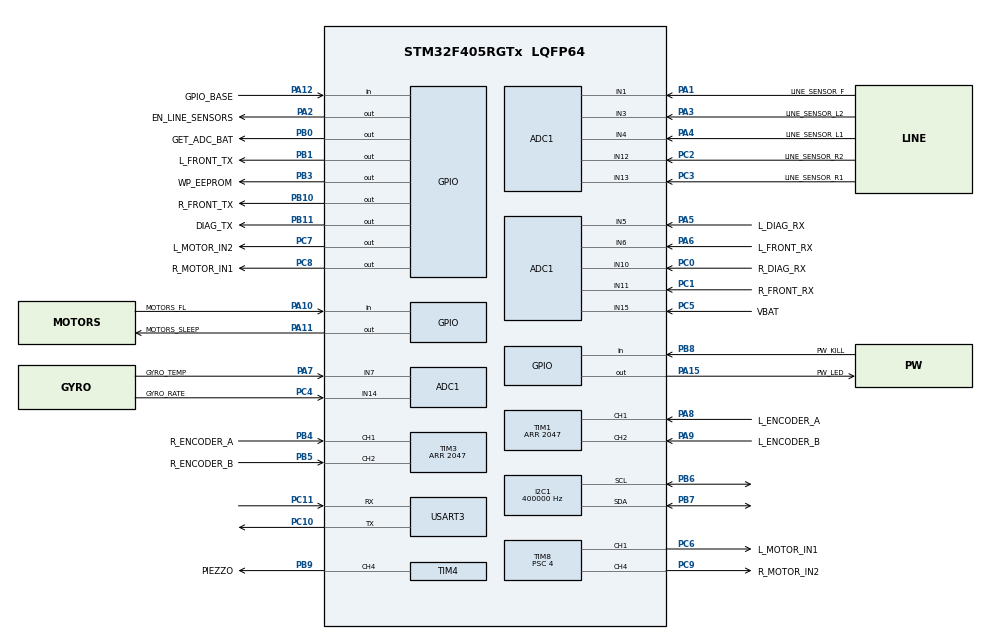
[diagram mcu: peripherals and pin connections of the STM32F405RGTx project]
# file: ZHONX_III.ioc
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ADC1.Channel-0\#ChannelRegularConversion=ADC_CHANNEL_1
ADC1.ContinuousConvMode=ENABLE
ADC1.DMAContinuousRequests=ENABLE
ADC1.EOCSelection=EOC_SEQ_CONV
ADC1.NbrOfConversionFlag=1
ADC1.master=1
Dma.ADC1.0.Channel=DMA_CHANNEL_0
Dma.ADC1.0.Direction=DMA_PERIPH_TO_MEMORY
Dma.ADC1.0.FIFOMode=DMA_FIFOMODE_DISABLE
Dma.ADC1.0.Instance=DMA2_Stream0
Dma.ADC1.0.MemDataAlignment=DMA_MDATAALIGN_WORD
Dma.ADC1.0.MemInc=DMA_MINC_ENABLE
Dma.ADC1.0.Mode=DMA_CIRCULAR
Dma.ADC1.0.PeriphDataAlignment=DMA_PDATAALIGN_WORD
Dma.ADC1.0.PeriphInc=DMA_PINC_DISABLE
Dma.ADC1.0.Priority=DMA_PRIORITY_HIGH
Dma.I2C1_RX.2.Channel=DMA_CHANNEL_1
Dma.I2C1_RX.2.Direction=DMA_PERIPH_TO_MEMORY
Dma.I2C1_RX.2.FIFOMode=DMA_FIFOMODE_DISABLE
Dma.I2C1_RX.2.Instance=DMA1_Stream5
Dma.I2C1_RX.2.MemDataAlignment=DMA_MDATAALIGN_BYTE
Dma.I2C1_RX.2.MemInc=DMA_MINC_ENABLE
Dma.I2C1_RX.2.Mode=DMA_NORMAL
Dma.I2C1_RX.2.PeriphDataAlignment=DMA_PDATAALIGN_BYTE
Dma.I2C1_RX.2.PeriphInc=DMA_PINC_DISABLE
Dma.I2C1_RX.2.Priority=DMA_PRIORITY_HIGH
Dma.I2C1_TX.1.Channel=DMA_CHANNEL_1
Dma.I2C1_TX.1.Direction=DMA_MEMORY_TO_PERIPH
Dma.I2C1_TX.1.FIFOMode=DMA_FIFOMODE_DISABLE
Dma.I2C1_TX.1.Instance=DMA1_Stream6
Dma.I2C1_TX.1.MemDataAlignment=DMA_MDATAALIGN_BYTE
Dma.I2C1_TX.1.MemInc=DMA_MINC_ENABLE
Dma.I2C1_TX.1.Mode=DMA_NORMAL
Dma.I2C1_TX.1.PeriphDataAlignment=DMA_PDATAALIGN_BYTE
Dma.I2C1_TX.1.PeriphInc=DMA_PINC_DISABLE
Dma.I2C1_TX.1.Priority=DMA_PRIORITY_LOW
Dma.Request0=ADC1
Dma.Request1=I2C1_TX
Dma.Request2=I2C1_RX
I2C1.ClockSpeed=400000
I2C1.DualAddressMode=I2C_DUALADDRESS_DISABLED
I2C1.DutyCycle=I2C_DUTYCYCLE_16_9
I2C1.GeneralCallMode=I2C_GENERALCALL_ENABLED
I2C1.NoStretchMode=I2C_NOSTRETCH_ENABLED
I2C1.OwnAddress1=120
Mcu.Family=STM32F4
Mcu.Name=STM32F405RGTx
Mcu.Package=LQFP64
NVIC.DMA1_Stream5_IRQn=true\:1\:0
NVIC.DMA1_Stream6_IRQn=true\:1\:1
NVIC.I2C1_ER_IRQn=true\:0\:0
NVIC.I2C1_EV_IRQn=true\:0\:0
NVIC.PriorityGroup=NVIC_PRIORITYGROUP_1
NVIC.TIM1_UP_TIM10_IRQn=true\:0\:0
NVIC.TIM3_IRQn=true\:0\:0
NVIC.TIM6_DAC_IRQn=true\:1\:2
NVIC.TIM7_IRQn=true\:0\:0
PA0-WKUP.Mode=SYS-WakeUp
PA0-WKUP.Signal=SYS_WKUP
PA1.GPIO_Label=LINE_SENSOR_F
PA1.GPIO_Mode=GPIO_MODE_ANALOG
PA1.GPIO_PuPd=GPIO_NOPULL
PA1.Signal=ADCx_IN1
PA10.GPIO_Label=MOTORS_FL
PA10.GPIO_Mode=GPIO_MODE_INPUT
PA10.GPIO_PuPd=GPIO_NOPULL
PA10.Signal=GPIO_Input
PA11.GPIO_Label=MOTORS_SLEEP
PA11.GPIO_ModeDefaultOutputPP=GPIO_MODE_OUTPUT_PP
PA11.GPIO_PuPd=GPIO_NOPULL
PA11.GPIO_Speed=GPIO_SPEED_LOW
PA11.Signal=GPIO_Output
PA12.GPIO_Label=GPIO_BASE
PA12.GPIO_Mode=GPIO_MODE_INPUT
PA12.GPIO_PuPd=GPIO_NOPULL
PA12.Signal=GPIO_Input
PA13.Mode=Serial-Wire
PA13.Signal=SYS_JTMS-SWDIO
PA14.Mode=Serial-Wire
PA14.Signal=SYS_JTCK-SWCLK
PA15.GPIO_Label=PW_LED
PA15.GPIO_Mode=GPIO_MODE_OUTPUT_PP
PA15.GPIO_ModeDefaultOutputPP=GPIO_MODE_OUTPUT_PP
PA15.GPIO_PuPd=GPIO_NOPULL
PA15.GPIO_Speed=GPIO_SPEED_LOW
PA15.Signal=GPIO_Output
PA2.GPIO_Label=EN_LINE_SENSORS
PA2.GPIO_ModeDefaultOutputPP=GPIO_MODE_OUTPUT_PP
PA2.GPIO_PuPd=GPIO_NOPULL
PA2.GPIO_Speed=GPIO_SPEED_LOW
PA2.Signal=GPIO_Output
PA3.GPIO_Label=LINE_SENSOR_L2
PA3.GPIO_Mode=GPIO_MODE_ANALOG
PA3.GPIO_PuPd=GPIO_NOPULL
PA3.Signal=ADCx_IN3
PA4.GPIO_Label=LINE_SENSOR_L1
PA4.GPIO_Mode=GPIO_MODE_ANALOG
PA4.GPIO_PuPd=GPIO_NOPULL
PA4.Signal=ADCx_IN4
PA5.GPIO_Label=L_DIAG_RX
PA5.GPIO_Mode=GPIO_MODE_ANALOG
PA5.GPIO_PuPd=GPIO_NOPULL
PA5.Signal=ADCx_IN5
PA6.GPIO_Label=L_FRONT_RX
PA6.GPIO_Mode=GPIO_MODE_ANALOG
PA6.GPIO_PuPd=GPIO_NOPULL
PA6.Signal=ADCx_IN6
PA7.GPIO_Label=GYRO_TEMP
PA7.GPIO_Mode=GPIO_MODE_ANALOG
PA7.GPIO_PuPd=GPIO_NOPULL
PA7.Signal=ADCx_IN7
PA8.GPIO_Label=L_ENCODER_A
PA8.GPIO_ModeDefaultPP=GPIO_MODE_AF_PP
PA8.GPIO_PuPd=GPIO_NOPULL
PA8.GPIO_Speed=GPIO_SPEED_LOW
PA8.Signal=S_TIM1_CH1
PA9.GPIO_Label=L_ENCODER_B
PA9.GPIO_ModeDefaultPP=GPIO_MODE_AF_PP
PA9.GPIO_PuPd=GPIO_NOPULL
PA9.GPIO_Speed=GPIO_SPEED_LOW
PA9.Signal=S_TIM1_CH2
PB0.GPIO_Label=GET_ADC_BAT
PB0.GPIO_ModeDefaultOutputPP=GPIO_MODE_OUTPUT_PP
PB0.GPIO_PuPd=GPIO_NOPULL
PB0.GPIO_Speed=GPIO_SPEED_LOW
PB0.Signal=GPIO_Output
PB1.GPIO_Label=L_FRONT_TX
PB1.GPIO_ModeDefaultOutputPP=GPIO_MODE_OUTPUT_PP
PB1.GPIO_PuPd=GPIO_NOPULL
PB1.GPIO_Speed=GPIO_SPEED_HIGH
PB1.Signal=GPIO_Output
PB10.GPIO_Label=R_FRONT_TX
PB10.GPIO_ModeDefaultOutputPP=GPIO_MODE_OUTPUT_PP
PB10.GPIO_PuPd=GPIO_NOPULL
PB10.GPIO_Speed=GPIO_SPEED_HIGH
PB10.Signal=GPIO_Output
PB11.GPIO_Label=DIAG_TX
PB11.GPIO_ModeDefaultOutputPP=GPIO_MODE_OUTPUT_PP
PB11.GPIO_PuPd=GPIO_NOPULL
PB11.GPIO_Speed=GPIO_SPEED_HIGH
PB11.Signal=GPIO_Output
PB3.GPIO_Label=WP_EEPROM
PB3.GPIO_ModeDefaultOutputPP=GPIO_MODE_OUTPUT_PP
PB3.GPIO_PuPd=GPIO_NOPULL
PB3.GPIO_Speed=GPIO_SPEED_LOW
PB3.Signal=GPIO_Output
PB4.GPIO_Label=R_ENCODER_A
PB4.GPIO_ModeDefaultPP=GPIO_MODE_AF_PP
PB4.GPIO_PuPd=GPIO_NOPULL
PB4.GPIO_Speed=GPIO_SPEED_LOW
PB4.Signal=S_TIM3_CH1
PB5.GPIO_Label=R_ENCODER_B
PB5.GPIO_ModeDefaultPP=GPIO_MODE_AF_PP
PB5.GPIO_PuPd=GPIO_NOPULL
PB5.GPIO_Speed=GPIO_SPEED_LOW
PB5.Signal=S_TIM3_CH2
PB6.GPIO_Mode=GPIO_MODE_AF_OD
PB6.GPIO_PuPd=GPIO_NOPULL
PB6.GPIO_Speed=GPIO_SPEED_FAST
PB6.Mode=I2C
PB6.Signal=I2C1_SCL
PB7.GPIO_Mode=GPIO_MODE_AF_OD
PB7.GPIO_PuPd=GPIO_NOPULL
PB7.GPIO_Speed=GPIO_SPEED_FAST
PB7.Mode=I2C
PB7.Signal=I2C1_SDA
PB8.GPIO_Label=PW_KILL
PB8.GPIO_Mode=GPIO_MODE_INPUT
PB8.GPIO_PuPd=GPIO_PULLUP
PB8.Signal=GPIO_Input
PB9.GPIO_Label=PIEZZO
PB9.GPIO_ModeDefaultPP=GPIO_MODE_AF_PP
PB9.GPIO_PuPd=GPIO_NOPULL
PB9.GPIO_Speed=GPIO_SPEED_LOW
PB9.Signal=S_TIM4_CH4
PC0.GPIO_Label=R_DIAG_RX
PC0.GPIO_Mode=GPIO_MODE_ANALOG
PC0.GPIO_PuPd=GPIO_NOPULL
PC0.Signal=ADCx_IN10
PC1.GPIO_Label=R_FRONT_RX
PC1.GPIO_Mode=GPIO_MODE_ANALOG
PC1.GPIO_PuPd=GPIO_NOPULL
PC1.Signal=ADCx_IN11
PC10.Mode=Asynchronous
PC10.Signal=USART3_TX
PC11.Mode=Asynchronous
PC11.Signal=USART3_RX
PC2.GPIO_Label=LINE_SENSOR_R2
PC2.GPIO_Mode=GPIO_MODE_ANALOG
PC2.GPIO_PuPd=GPIO_NOPULL
PC2.Signal=ADCx_IN12
PC3.GPIO_Label=LINE_SENSOR_R1
PC3.GPIO_Mode=GPIO_MODE_ANALOG
PC3.GPIO_PuPd=GPIO_NOPULL
PC3.Signal=ADCx_IN13
PC4.GPIO_Label=GYRO_RATE
PC4.GPIO_Mode=GPIO_MODE_ANALOG
PC4.GPIO_PuPd=GPIO_NOPULL
PC4.Signal=ADCx_IN14
PC5.GPIO_Label=VBAT
PC5.GPIO_Mode=GPIO_MODE_ANALOG
PC5.GPIO_PuPd=GPIO_NOPULL
PC5.Signal=ADCx_IN15
PC6.GPIO_Label=L_MOTOR_IN1
PC6.GPIO_ModeDefaultPP=GPIO_MODE_AF_PP
PC6.GPIO_PuPd=GPIO_NOPULL
PC6.GPIO_Speed=GPIO_SPEED_FAST
PC6.Signal=S_TIM8_CH1
PC7.GPIO_Label=L_MOTOR_IN2
PC7.GPIO_ModeDefaultOutputPP=GPIO_MODE_OUTPUT_PP
PC7.GPIO_PuPd=GPIO_NOPULL
PC7.GPIO_Speed=GPIO_SPEED_LOW
PC7.Signal=GPIO_Output
PC8.GPIO_Label=R_MOTOR_IN1
PC8.GPIO_ModeDefaultOutputPP=GPIO_MODE_OUTPUT_PP
PC8.GPIO_PuPd=GPIO_NOPULL
PC8.GPIO_Speed=GPIO_SPEED_LOW
PC8.Signal=GPIO_Output
PC9.GPIO_Label=R_MOTOR_IN2
PC9.GPIO_ModeDefaultPP=GPIO_MODE_AF_PP
PC9.GPIO_PuPd=GPIO_NOPULL
PC9.GPIO_Speed=GPIO_SPEED_FAST
PC9.Signal=S_TIM8_CH4
PH0-OSC_IN.Mode=HSE-External-Oscillator
PH0-OSC_IN.Signal=RCC_OSC_IN
PH1-OSC_OUT.Mode=HSE-External-Oscillator
PH1-OSC_OUT.Signal=RCC_OSC_OUT
ProjectManager.TargetToolchain=TrueSTUDIO 4.3.1
RCC.APB1CLKDivider=RCC_HCLK_DIV4
RCC.APB2CLKDivider=RCC_HCLK_DIV4
RCC.EnbaleCSS=true
RCC.HSE_VALUE=16000000
RCC.HSI_VALUE=16000000
RCC.LSE_VALUE=32768
RCC.PLLN=336
RCC.PLLSource=RCC_PLLSOURCE_HSE
RCC.SYSCLKSource=RCC_SYSCLKSOURCE_PLLCLK
SH.ADCx_IN1.0=ADC1_IN1,IN1
SH.ADCx_IN10.0=ADC1_IN10,IN10
SH.ADCx_IN11.0=ADC1_IN11,IN11
SH.ADCx_IN12.0=ADC1_IN12,IN12
SH.ADCx_IN13.0=ADC1_IN13,IN13
SH.ADCx_IN14.0=ADC1_IN14,IN14
SH.ADCx_IN15.0=ADC1_IN15,IN15
SH.ADCx_IN3.0=ADC1_IN3,IN3
SH.ADCx_IN4.0=ADC1_IN4,IN4
SH.ADCx_IN5.0=ADC1_IN5,IN5
SH.ADCx_IN6.0=ADC1_IN6,IN6
SH.ADCx_IN7.0=ADC1_IN7,IN7
SH.S_TIM1_CH1.0=TIM1_CH1,Encoder_Interface
SH.S_TIM1_CH2.0=TIM1_CH2,Encoder_Interface
SH.S_TIM3_CH1.0=TIM3_CH1,Encoder_Interface
SH.S_TIM3_CH2.0=TIM3_CH2,Encoder_Interface
SH.S_TIM4_CH4.0=TIM4_CH4,PWM Generation4 CH4
SH.S_TIM8_CH1.0=TIM8_CH1,PWM Generation1 CH1
SH.S_TIM8_CH4.0=TIM8_CH4,PWM Generation4 CH4
TIM1.ClockDivision=TIM_CLOCKDIVISION_DIV1
TIM1.EncoderMode=TIM_ENCODERMODE_TI12
TIM1.IC1Filter-Encoder_Interface=3
TIM1.IC1Prescaler-Encoder_Interface=TIM_ICPSC_DIV8
TIM1.IC2Filter=3
TIM1.IC2Prescaler=TIM_ICPSC_DIV8
TIM1.Period=2047
TIM10.Period=10
TIM10.Prescaler=60000
TIM3.EncoderMode=TIM_ENCODERMODE_TI12
TIM3.IC1Filter-Encoder_Interface=3
TIM3.IC1Prescaler-Encoder_Interface=TIM_ICPSC_DIV8
TIM3.IC2Filter=3
TIM3.IC2Prescaler=TIM_ICPSC_DIV8
TIM3.Period=2047
TIM4.Channel-PWM\ Generation4\ CH4=TIM_CHANNEL_4
TIM4.Period=10
TIM4.Prescaler=1800
TIM4.Pulse-PWM\ Generation4\ CH4=5
TIM6.Period=10
TIM6.Prescaler=60000
TIM7.Period=10
TIM7.Prescaler=60000
TIM8.BreakPolarity=TIM_BREAKPOLARITY_LOW
TIM8.Channel-PWM\ Generation2\ CH2=TIM_CHANNEL_2
TIM8.Channel-PWM\ Generation3\ CH3=TIM_CHANNEL_3
TIM8.Channel-PWM\ Generation4\ CH4=TIM_CHANNEL_4
TIM8.ClockDivision=TIM_CLOCKDIVISION_DIV1
TIM8.OCFastMode_PWM-PWM\ Generation1\ CH1=TIM_OCFAST_ENABLE
TIM8.OCFastMode_PWM-PWM\ Generation4\ CH4=TIM_OCFAST_ENABLE
TIM8.OCIdleState_1-PWM\ Generation1\ CH1=TIM_OCIDLESTATE_SET
TIM8.OCIdleState_4-PWM\ Generation4\ CH4=TIM_OCIDLESTATE_SET
TIM8.OCPolarity_1-PWM\ Generation1\ CH1=TIM_OCPOLARITY_LOW
TIM8.OCPolarity_4-PWM\ Generation4\ CH4=TIM_OCPOLARITY_LOW
TIM8.Period=1000
TIM8.Prescaler=4
TIM8.Pulse-PWM\ Generation1\ CH1=500
TIM8.Pulse-PWM\ Generation2\ CH2=0
TIM8.Pulse-PWM\ Generation3\ CH3=0
TIM8.Pulse-PWM\ Generation4\ CH4=500
VP_TIM10_VS_ClockSourceINT.Mode=Enable_Timer
VP_TIM6_VS_ClockSourceINT.Mode=Enable_Timer
VP_TIM7_VS_ClockSourceINT.Mode=Enable_Timer
VP_TIM8_VS_ClockSourceINT.Mode=Internal

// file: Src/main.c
/**
  ******************************************************************************
  * File Name          : main.c
  * Date               : 19/10/2014 22:24:43
  * Description        : Main program body
  ******************************************************************************
  *
  * COPYRIGHT(c) 2014 STMicroelectronics
  *
  * Redistribution and use in source and binary forms, with or without modification,
  * are permitted provided that the following conditions are met:
  *   1. Redistributions of source code must retain the above copyright notice,
  *      this list of conditions and the following disclaimer.
  *   2. Redistributions in binary form must reproduce the above copyright notice,
  *      this list of conditions and the following disclaimer in the documentation
  *      and/or other materials provided with the distribution.
  *   3. Neither the name of STMicroelectronics nor the names of its contributors
  *      may be used to endorse or promote products derived from this software
  *      without specific prior written permission.
  *
  * THIS SOFTWARE IS PROVIDED BY THE COPYRIGHT HOLDERS AND CONTRIBUTORS "AS IS"
  * AND ANY EXPRESS OR IMPLIED WARRANTIES, INCLUDING, BUT NOT LIMITED TO, THE
  * IMPLIED WARRANTIES OF MERCHANTABILITY AND FITNESS FOR A PARTICULAR PURPOSE ARE
  * DISCLAIMED. IN NO EVENT SHALL THE COPYRIGHT HOLDER OR CONTRIBUTORS BE LIABLE
  * FOR ANY DIRECT, INDIRECT, INCIDENTAL, SPECIAL, EXEMPLARY, OR CONSEQUENTIAL
  * DAMAGES (INCLUDING, BUT NOT LIMITED TO, PROCUREMENT OF SUBSTITUTE GOODS OR
  * SERVICES; LOSS OF USE, DATA, OR PROFITS; OR BUSINESS INTERRUPTION) HOWEVER
  * CAUSED AND ON ANY THEORY OF LIABILITY, WHETHER IN CONTRACT, STRICT LIABILITY,
  * OR TORT (INCLUDING NEGLIGENCE OR OTHERWISE) ARISING IN ANY WAY OUT OF THE USE
  * OF THIS SOFTWARE, EVEN IF ADVISED OF THE POSSIBILITY OF SUCH DAMAGE.
  *
  ******************************************************************************
  */

#include "stm32f4xx_hal.h"

ADC_HandleTypeDef hadc1;
DMA_HandleTypeDef hdma_adc1;

I2C_HandleTypeDef hi2c1;
DMA_HandleTypeDef hdma_i2c1_tx;
DMA_HandleTypeDef hdma_i2c1_rx;

TIM_HandleTypeDef htim1;
TIM_HandleTypeDef htim3;
TIM_HandleTypeDef htim4;
TIM_HandleTypeDef htim6;
TIM_HandleTypeDef htim7;
TIM_HandleTypeDef htim8;
TIM_HandleTypeDef htim10;

UART_HandleTypeDef huart3;

/* USER CODE BEGIN 0 */
#include "tests.h"
#include "ADXRS620.h"
#include "smallfonts.h"
#include "ssd1306.h"
#include "pictures.h"
#include "PCF8574.h"
#include "Telemeters.h"
#include "TimesBase.h"

#include "Straight_Controls.h"

#include <stdlib.h>

/* USER CODE END 0 */

void SystemClock_Config(void);
static void MX_GPIO_Init(void);
static void MX_DMA_Init(void);
static void MX_ADC1_Init(void);
static void MX_I2C1_Init(void);
static void MX_TIM1_Init(void);
static void MX_TIM3_Init(void);
static void MX_TIM4_Init(void);
static void MX_TIM6_Init(void);
static void MX_TIM7_Init(void);
static void MX_TIM8_Init(void);
static void MX_TIM10_Init(void);
static void MX_USART3_UART_Init(void);

int main(void)
{

  /* MCU Configuration----------------------------------------------------------*/

  /* Reset of all peripherals, Initializes the Flash interface and the Systick. */
  HAL_Init();

  /* Configure the system clock */
  SystemClock_Config();

  /* System interrupt init*/
  /* Sets the priority grouping field */
  HAL_NVIC_SetPriorityGrouping(NVIC_PRIORITYGROUP_1);
  HAL_NVIC_SetPriority(SysTick_IRQn, 0, 1);

  /* Initialize all configured peripherals */
  MX_GPIO_Init();
  MX_DMA_Init();
  MX_ADC1_Init();
  MX_I2C1_Init();
  MX_TIM1_Init();
  MX_TIM3_Init();
  MX_TIM4_Init();
  MX_TIM6_Init();
  MX_TIM7_Init();
  MX_TIM8_Init();
  MX_TIM10_Init();
  MX_USART3_UART_Init();

  /* USER CODE BEGIN 2 */
  HAL_GPIO_WritePin(GPIOA, GPIO_PIN_15, SET);

  /* USER CODE END 2 */

  /* USER CODE BEGIN 3 */
//  test_Expander();
  ssd1306Init(0);
  test_Telemeters();
  ADXRS620_Init();
  TimesBase_Init();

  test_Encoders();

  Straight_Control_Start(GYRO);
  test_Beeper();
  Led_Power_Blink(990, 10, 0);
  //test_Gyro();
  Debug_ADXRS620();

//Debug_Straight_Control();
while(1);

//  test_Encoders();
//  test_Vbat();
//  test_EasterEgg();
//test_Gyro();
// test_Motor_Move();

//    test_Motors();

//  test_Telemeters();
//  HAL_Delay(1000);
//  test_LineSensors();
//  test_Oled();
//  test_IR_Sensors();

  /* USER CODE END 3 */

}

/** System Clock Configuration
*/
void SystemClock_Config(void)
{

  RCC_ClkInitTypeDef RCC_ClkInitStruct;
  RCC_OscInitTypeDef RCC_OscInitStruct;

  __PWR_CLK_ENABLE();

  __HAL_PWR_VOLTAGESCALING_CONFIG(PWR_REGULATOR_VOLTAGE_SCALE1);

  RCC_OscInitStruct.OscillatorType = RCC_OSCILLATORTYPE_HSE;
  RCC_OscInitStruct.HSEState = RCC_HSE_ON;
  RCC_OscInitStruct.PLL.PLLState = RCC_PLL_ON;
  RCC_OscInitStruct.PLL.PLLSource = RCC_PLLSOURCE_HSE;
  RCC_OscInitStruct.PLL.PLLM = 16;
  RCC_OscInitStruct.PLL.PLLN = 336;
  RCC_OscInitStruct.PLL.PLLP = RCC_PLLP_DIV2;
  RCC_OscInitStruct.PLL.PLLQ = 4;
  HAL_RCC_OscConfig(&RCC_OscInitStruct);

  RCC_ClkInitStruct.ClockType = RCC_CLOCKTYPE_SYSCLK|RCC_CLOCKTYPE_PCLK1
                              |RCC_CLOCKTYPE_PCLK2;
  RCC_ClkInitStruct.SYSCLKSource = RCC_SYSCLKSOURCE_PLLCLK;
  RCC_ClkInitStruct.AHBCLKDivider = RCC_SYSCLK_DIV1;
  RCC_ClkInitStruct.APB1CLKDivider = RCC_HCLK_DIV4;
  RCC_ClkInitStruct.APB2CLKDivider = RCC_HCLK_DIV4;
  HAL_RCC_ClockConfig(&RCC_ClkInitStruct, FLASH_LATENCY_5);

  HAL_RCC_EnableCSS();

}

/* ADC1 init function */
void MX_ADC1_Init(void)
{

  ADC_ChannelConfTypeDef sConfig;

    /**Configure the global features of the ADC (Clock, Resolution, Data Alignment and number of conversion)
    */
  hadc1.Instance = ADC1;
  hadc1.Init.ClockPrescaler = ADC_CLOCKPRESCALER_PCLK_DIV2;
  hadc1.Init.Resolution = ADC_RESOLUTION12b;
  hadc1.Init.ScanConvMode = DISABLE;
  hadc1.Init.ContinuousConvMode = ENABLE;
  hadc1.Init.DiscontinuousConvMode = DISABLE;
  hadc1.Init.NbrOfDiscConversion = 1;
  hadc1.Init.ExternalTrigConvEdge = ADC_EXTERNALTRIGCONVEDGE_NONE;
  hadc1.Init.DataAlign = ADC_DATAALIGN_RIGHT;
  hadc1.Init.NbrOfConversion = 1;
  hadc1.Init.DMAContinuousRequests = ENABLE;
  hadc1.Init.EOCSelection = EOC_SEQ_CONV;
  HAL_ADC_Init(&hadc1);

    /**Configure for the selected ADC regular channel its corresponding rank in the sequencer and its sample time.
    */
  sConfig.Channel = ADC_CHANNEL_1;
  sConfig.Rank = 1;
  sConfig.SamplingTime = ADC_SAMPLETIME_3CYCLES;
  HAL_ADC_ConfigChannel(&hadc1, &sConfig);

}

/* I2C1 init function */
void MX_I2C1_Init(void)
{

  hi2c1.Instance = I2C1;
  hi2c1.Init.ClockSpeed = 400000;
  hi2c1.Init.DutyCycle = I2C_DUTYCYCLE_16_9;
  hi2c1.Init.OwnAddress1 = 120;
  hi2c1.Init.AddressingMode = I2C_ADDRESSINGMODE_7BIT;
  hi2c1.Init.DualAddressMode = I2C_DUALADDRESS_DISABLED;
  hi2c1.Init.OwnAddress2 = 0;
  hi2c1.Init.GeneralCallMode = I2C_GENERALCALL_ENABLED;
  hi2c1.Init.NoStretchMode = I2C_NOSTRETCH_ENABLED;
  HAL_I2C_Init(&hi2c1);

}

/* TIM1 init function */
void MX_TIM1_Init(void)
{

  TIM_Encoder_InitTypeDef sConfig;
  TIM_MasterConfigTypeDef sMasterConfig;

  htim1.Instance = TIM1;
  htim1.Init.Prescaler = 0;
  htim1.Init.CounterMode = TIM_COUNTERMODE_UP;
  htim1.Init.Period = 2047;
  htim1.Init.ClockDivision = TIM_CLOCKDIVISION_DIV1;
  htim1.Init.RepetitionCounter = 0;
  sConfig.EncoderMode = TIM_ENCODERMODE_TI12;
  sConfig.IC1Polarity = TIM_ICPOLARITY_RISING;
  sConfig.IC1Selection = TIM_ICSELECTION_DIRECTTI;
  sConfig.IC1Prescaler = TIM_ICPSC_DIV8;
  sConfig.IC1Filter = 3;
  sConfig.IC2Polarity = TIM_ICPOLARITY_RISING;
  sConfig.IC2Selection = TIM_ICSELECTION_DIRECTTI;
  sConfig.IC2Prescaler = TIM_ICPSC_DIV8;
  sConfig.IC2Filter = 3;
  HAL_TIM_Encoder_Init(&htim1, &sConfig);

  sMasterConfig.MasterOutputTrigger = TIM_TRGO_RESET;
  sMasterConfig.MasterSlaveMode = TIM_MASTERSLAVEMODE_DISABLE;
  HAL_TIMEx_MasterConfigSynchronization(&htim1, &sMasterConfig);

}

/* TIM3 init function */
void MX_TIM3_Init(void)
{

  TIM_Encoder_InitTypeDef sConfig;
  TIM_MasterConfigTypeDef sMasterConfig;

  htim3.Instance = TIM3;
  htim3.Init.Prescaler = 0;
  htim3.Init.CounterMode = TIM_COUNTERMODE_UP;
  htim3.Init.Period = 2047;
  htim3.Init.ClockDivision = TIM_CLOCKDIVISION_DIV1;
  sConfig.EncoderMode = TIM_ENCODERMODE_TI12;
  sConfig.IC1Polarity = TIM_ICPOLARITY_RISING;
  sConfig.IC1Selection = TIM_ICSELECTION_DIRECTTI;
  sConfig.IC1Prescaler = TIM_ICPSC_DIV8;
  sConfig.IC1Filter = 3;
  sConfig.IC2Polarity = TIM_ICPOLARITY_RISING;
  sConfig.IC2Selection = TIM_ICSELECTION_DIRECTTI;
  sConfig.IC2Prescaler = TIM_ICPSC_DIV8;
  sConfig.IC2Filter = 3;
  HAL_TIM_Encoder_Init(&htim3, &sConfig);

  sMasterConfig.MasterOutputTrigger = TIM_TRGO_RESET;
  sMasterConfig.MasterSlaveMode = TIM_MASTERSLAVEMODE_DISABLE;
  HAL_TIMEx_MasterConfigSynchronization(&htim3, &sMasterConfig);

}

/* TIM4 init function */
void MX_TIM4_Init(void)
{

  TIM_OC_InitTypeDef sConfigOC;
  TIM_MasterConfigTypeDef sMasterConfig;

  htim4.Instance = TIM4;
  htim4.Init.Prescaler = 1800;
  htim4.Init.CounterMode = TIM_COUNTERMODE_UP;
  htim4.Init.Period = 10;
  htim4.Init.ClockDivision = TIM_CLOCKDIVISION_DIV1;
  HAL_TIM_PWM_Init(&htim4);

  sConfigOC.OCMode = TIM_OCMODE_PWM1;
  sConfigOC.Pulse = 5;
  sConfigOC.OCPolarity = TIM_OCPOLARITY_HIGH;
  sConfigOC.OCFastMode = TIM_OCFAST_DISABLE;
  HAL_TIM_PWM_ConfigChannel(&htim4, &sConfigOC, TIM_CHANNEL_4);

  sMasterConfig.MasterOutputTrigger = TIM_TRGO_RESET;
  sMasterConfig.MasterSlaveMode = TIM_MASTERSLAVEMODE_DISABLE;
  HAL_TIMEx_MasterConfigSynchronization(&htim4, &sMasterConfig);

}

/* TIM6 init function */
void MX_TIM6_Init(void)
{

  TIM_MasterConfigTypeDef sMasterConfig;

  htim6.Instance = TIM6;
  htim6.Init.Prescaler = 60000;
  htim6.Init.CounterMode = TIM_COUNTERMODE_UP;
  htim6.Init.Period = 10;
  HAL_TIM_Base_Init(&htim6);

  sMasterConfig.MasterOutputTrigger = TIM_TRGO_RESET;
  sMasterConfig.MasterSlaveMode = TIM_MASTERSLAVEMODE_DISABLE;
  HAL_TIMEx_MasterConfigSynchronization(&htim6, &sMasterConfig);

}

/* TIM7 init function */
void MX_TIM7_Init(void)
{

  TIM_MasterConfigTypeDef sMasterConfig;

  htim7.Instance = TIM7;
  htim7.Init.Prescaler = 60000;
  htim7.Init.CounterMode = TIM_COUNTERMODE_UP;
  htim7.Init.Period = 10;
  HAL_TIM_Base_Init(&htim7);

  sMasterConfig.MasterOutputTrigger = TIM_TRGO_RESET;
  sMasterConfig.MasterSlaveMode = TIM_MASTERSLAVEMODE_DISABLE;
  HAL_TIMEx_MasterConfigSynchronization(&htim7, &sMasterConfig);

}

/* TIM8 init function */
void MX_TIM8_Init(void)
{

  TIM_ClockConfigTypeDef sClockSourceConfig;
  TIM_OC_InitTypeDef sConfigOC;
  TIM_BreakDeadTimeConfigTypeDef sBreakDeadTimeConfig;
  TIM_MasterConfigTypeDef sMasterConfig;

  htim8.Instance = TIM8;
  htim8.Init.Prescaler = 4;
  htim8.Init.CounterMode = TIM_COUNTERMODE_UP;
  htim8.Init.Period = 1000;
  htim8.Init.ClockDivision = TIM_CLOCKDIVISION_DIV1;
  htim8.Init.RepetitionCounter = 0;
  HAL_TIM_Base_Init(&htim8);

  sClockSourceConfig.ClockSource = TIM_CLOCKSOURCE_INTERNAL;
  HAL_TIM_ConfigClockSource(&htim8, &sClockSourceConfig);

  HAL_TIM_PWM_Init(&htim8);

  sConfigOC.OCMode = TIM_OCMODE_PWM1;
  sConfigOC.Pulse = 500;
  sConfigOC.OCPolarity = TIM_OCPOLARITY_LOW;
  sConfigOC.OCFastMode = TIM_OCFAST_ENABLE;
  sConfigOC.OCIdleState = TIM_OCIDLESTATE_SET;
  HAL_TIM_PWM_ConfigChannel(&htim8, &sConfigOC, TIM_CHANNEL_1);

  HAL_TIM_PWM_ConfigChannel(&htim8, &sConfigOC, TIM_CHANNEL_4);

  sBreakDeadTimeConfig.OffStateRunMode = TIM_OSSR_DISABLE;
  sBreakDeadTimeConfig.OffStateIDLEMode = TIM_OSSI_DISABLE;
  sBreakDeadTimeConfig.LockLevel = TIM_LOCKLEVEL_OFF;
  sBreakDeadTimeConfig.DeadTime = 0;
  sBreakDeadTimeConfig.BreakState = TIM_BREAK_DISABLE;
  sBreakDeadTimeConfig.BreakPolarity = TIM_BREAKPOLARITY_LOW;
  sBreakDeadTimeConfig.AutomaticOutput = TIM_AUTOMATICOUTPUT_DISABLE;
  HAL_TIMEx_ConfigBreakDeadTime(&htim8, &sBreakDeadTimeConfig);

  sMasterConfig.MasterOutputTrigger = TIM_TRGO_RESET;
  sMasterConfig.MasterSlaveMode = TIM_MASTERSLAVEMODE_DISABLE;
  HAL_TIMEx_MasterConfigSynchronization(&htim8, &sMasterConfig);

}

/* TIM10 init function */
void MX_TIM10_Init(void)
{

  htim10.Instance = TIM10;
  htim10.Init.Prescaler = 60000;
  htim10.Init.CounterMode = TIM_COUNTERMODE_UP;
  htim10.Init.Period = 10;
  htim10.Init.ClockDivision = TIM_CLOCKDIVISION_DIV1;
  HAL_TIM_Base_Init(&htim10);

}

/* USART3 init function */
void MX_USART3_UART_Init(void)
{

  huart3.Instance = USART3;
  huart3.Init.BaudRate = 115200;
  huart3.Init.WordLength = UART_WORDLENGTH_8B;
  huart3.Init.StopBits = UART_STOPBITS_1;
  huart3.Init.Parity = UART_PARITY_NONE;
  huart3.Init.Mode = UART_MODE_TX_RX;
  huart3.Init.HwFlowCtl = UART_HWCONTROL_NONE;
  huart3.Init.OverSampling = UART_OVERSAMPLING_16;
  HAL_UART_Init(&huart3);

}

void MX_DMA_Init(void)
{
  /* DMA controller clock enable */
  __DMA2_CLK_ENABLE();
  __DMA1_CLK_ENABLE();

  /* DMA interrupt init */
  /* Sets the priority grouping field */
  HAL_NVIC_SetPriorityGrouping(NVIC_PRIORITYGROUP_1);
  HAL_NVIC_SetPriority(DMA1_Stream6_IRQn, 1, 1);
  HAL_NVIC_EnableIRQ(DMA1_Stream6_IRQn);
  /* Sets the priority grouping field */
  HAL_NVIC_SetPriorityGrouping(NVIC_PRIORITYGROUP_1);
  HAL_NVIC_SetPriority(DMA1_Stream5_IRQn, 1, 0);
  HAL_NVIC_EnableIRQ(DMA1_Stream5_IRQn);

}

/** Configure pins as
        * Analog
        * Input
        * Output
        * EVENT_OUT
        * EXTI
        * Free pins are configured automatically as Analog (this feature is enabled through
        * the Code Generation settings)
*/
void MX_GPIO_Init(void)
{

  GPIO_InitTypeDef GPIO_InitStruct;

  /* GPIO Ports Clock Enable */
  __GPIOC_CLK_ENABLE();
  __GPIOH_CLK_ENABLE();
  __GPIOA_CLK_ENABLE();
  __GPIOB_CLK_ENABLE();
  __GPIOD_CLK_ENABLE();

  /*Configure GPIO pins : PC13 PC14 PC15 PC12 */
  GPIO_InitStruct.Pin = GPIO_PIN_13|GPIO_PIN_14|GPIO_PIN_15|GPIO_PIN_12;
  GPIO_InitStruct.Mode = GPIO_MODE_ANALOG;
  GPIO_InitStruct.Pull = GPIO_NOPULL;
  HAL_GPIO_Init(GPIOC, &GPIO_InitStruct);

  /*Configure GPIO pins : PA2 PA11 PA15 */
  GPIO_InitStruct.Pin = GPIO_PIN_2|GPIO_PIN_11|GPIO_PIN_15;
  GPIO_InitStruct.Mode = GPIO_MODE_OUTPUT_PP;
  GPIO_InitStruct.Pull = GPIO_NOPULL;
  GPIO_InitStruct.Speed = GPIO_SPEED_LOW;
  HAL_GPIO_Init(GPIOA, &GPIO_InitStruct);

  /*Configure GPIO pins : PB0 PB3 */
  GPIO_InitStruct.Pin = GPIO_PIN_0|GPIO_PIN_3;
  GPIO_InitStruct.Mode = GPIO_MODE_OUTPUT_PP;
  GPIO_InitStruct.Pull = GPIO_NOPULL;
  GPIO_InitStruct.Speed = GPIO_SPEED_LOW;
  HAL_GPIO_Init(GPIOB, &GPIO_InitStruct);

  /*Configure GPIO pins : PB1 PB10 PB11 */
  GPIO_InitStruct.Pin = GPIO_PIN_1|GPIO_PIN_10|GPIO_PIN_11;
  GPIO_InitStruct.Mode = GPIO_MODE_OUTPUT_PP;
  GPIO_InitStruct.Pull = GPIO_NOPULL;
  GPIO_InitStruct.Speed = GPIO_SPEED_HIGH;
  HAL_GPIO_Init(GPIOB, &GPIO_InitStruct);

  /*Configure GPIO pins : PB2 PB12 PB13 PB14
                           PB15 */
  GPIO_InitStruct.Pin = GPIO_PIN_2|GPIO_PIN_12|GPIO_PIN_13|GPIO_PIN_14
                          |GPIO_PIN_15;
  GPIO_InitStruct.Mode = GPIO_MODE_ANALOG;
  GPIO_InitStruct.Pull = GPIO_NOPULL;
  HAL_GPIO_Init(GPIOB, &GPIO_InitStruct);

  /*Configure GPIO pins : PC7 PC8 */
  GPIO_InitStruct.Pin = GPIO_PIN_7|GPIO_PIN_8;
  GPIO_InitStruct.Mode = GPIO_MODE_OUTPUT_PP;
  GPIO_InitStruct.Pull = GPIO_NOPULL;
  GPIO_InitStruct.Speed = GPIO_SPEED_LOW;
  HAL_GPIO_Init(GPIOC, &GPIO_InitStruct);

  /*Configure GPIO pins : PA10 PA12 */
  GPIO_InitStruct.Pin = GPIO_PIN_10|GPIO_PIN_12;
  GPIO_InitStruct.Mode = GPIO_MODE_INPUT;
  GPIO_InitStruct.Pull = GPIO_NOPULL;
  HAL_GPIO_Init(GPIOA, &GPIO_InitStruct);

  /*Configure GPIO pin : PD2 */
  GPIO_InitStruct.Pin = GPIO_PIN_2;
  GPIO_InitStruct.Mode = GPIO_MODE_ANALOG;
  GPIO_InitStruct.Pull = GPIO_NOPULL;
  HAL_GPIO_Init(GPIOD, &GPIO_InitStruct);

  /*Configure GPIO pin : PB8 */
  GPIO_InitStruct.Pin = GPIO_PIN_8;
  GPIO_InitStruct.Mode = GPIO_MODE_INPUT;
  GPIO_InitStruct.Pull = GPIO_PULLUP;
  HAL_GPIO_Init(GPIOB, &GPIO_InitStruct);

}

/************************ (C) COPYRIGHT STMicroelectronics *****END OF FILE****/
